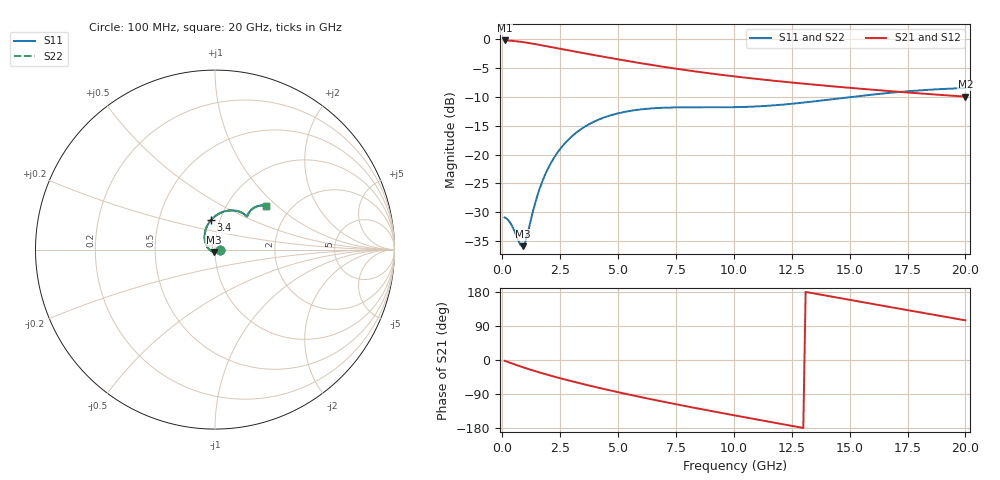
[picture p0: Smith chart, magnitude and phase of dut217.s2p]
! Created with skrf 1.9.0 (http://scikit-rf.org).
# GHz S RI R 50.0
!freq ReS11 ImS11 ReS21 ImS21 ReS12 ImS12 ReS22 ImS22
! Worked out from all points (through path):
!   200 points, 100 MHz to 20 GHz, reference 50 ohm
!   highest |S21| = -0.26 dB at 100 MHz (marker M1); lowest = -10.0 dB at 20 GHz (marker M2)
!   group delay of S21, straight-line fit = 33.6 ps
!   lowest |S11| = -35.9 dB at 900 MHz (marker M3), VSWR 1.03, Z = 49.4 - j1.46 ohm
!   |S11| at or under -10 dB: start of sweep to 15.15 GHz
!   |S22| runs from -35.9 to -8.5 dB; largest |S21 - S12| = 2.5e-15
!   S11 on the Smith chart (normalised r, x): 100 MHz: 1.06, -0.01; 3.4 GHz: 0.91, +0.31; 20 GHz: 1.51, +0.86
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0.1  0.0283 -0.00372  0.97 -0.0374  0.97 -0.0374  0.0283 -0.00372
0.4  0.0209 -0.013  0.9527 -0.1472  0.9527 -0.1472  0.0209 -0.013
0.8  1.74e-05 -0.0163  0.9027 -0.2801  0.9027 -0.2801  1.74e-05 -0.0163
0.9  -0.00624 -0.0148  0.8865 -0.3102  0.8865 -0.3102  -0.00624 -0.0148
1  -0.0126 -0.0124  0.8691 -0.3388  0.8691 -0.3388  -0.0126 -0.0124
1.5  -0.0411 0.0128  0.7697 -0.4605  0.7697 -0.4605  -0.0411 0.0128
1.7  -0.0492 0.0277  0.7265 -0.4998  0.7265 -0.4998  -0.0492 0.0277
2  -0.0565 0.0528  0.6602 -0.5497  0.6602 -0.5497  -0.0565 0.0528
2.6  -0.0538 0.1054  0.5268 -0.6219  0.5268 -0.6219  -0.0538 0.1054
3.4  -0.0228 0.1641  0.3554 -0.6726  0.3554 -0.6726  -0.0228 0.1641
3.5  -0.0175 0.17  0.3349 -0.6759  0.3349 -0.6759  -0.0175 0.17
4.9  0.0636 0.2154  0.0751 -0.6674  0.0751 -0.6674  0.0636 0.2154
5.8  0.1081 0.2177  -0.0603 -0.6227  -0.0603 -0.6227  0.1081 0.2177
6.8  0.1432 0.2087  -0.1813 -0.5516  -0.1813 -0.5516  0.1432 0.2087
8.4  0.171 0.1908  -0.3167 -0.4141  -0.3167 -0.4141  0.171 0.1908
10.1  0.1788 0.1845  -0.3958 -0.2576  -0.3958 -0.2576  0.1788 0.1845
11.7  0.1826 0.1935  -0.4204 -0.1136  -0.4204 -0.1136  0.1826 0.1935
13.4  0.1935 0.2123  -0.4026 0.026  -0.4026 0.026  0.1935 0.2123
15.1  0.2144 0.2312  -0.348 0.143  -0.348 0.143  0.2144 0.2312
16.7  0.2399 0.2427  -0.2723 0.2264  -0.2723 0.2264  0.2399 0.2427
18.3  0.2653 0.2462  -0.1822 0.2809  -0.1822 0.2809  0.2653 0.2462
20  0.2868 0.2435  -0.0802 0.3068  -0.0802 0.3068  0.2868 0.2435
